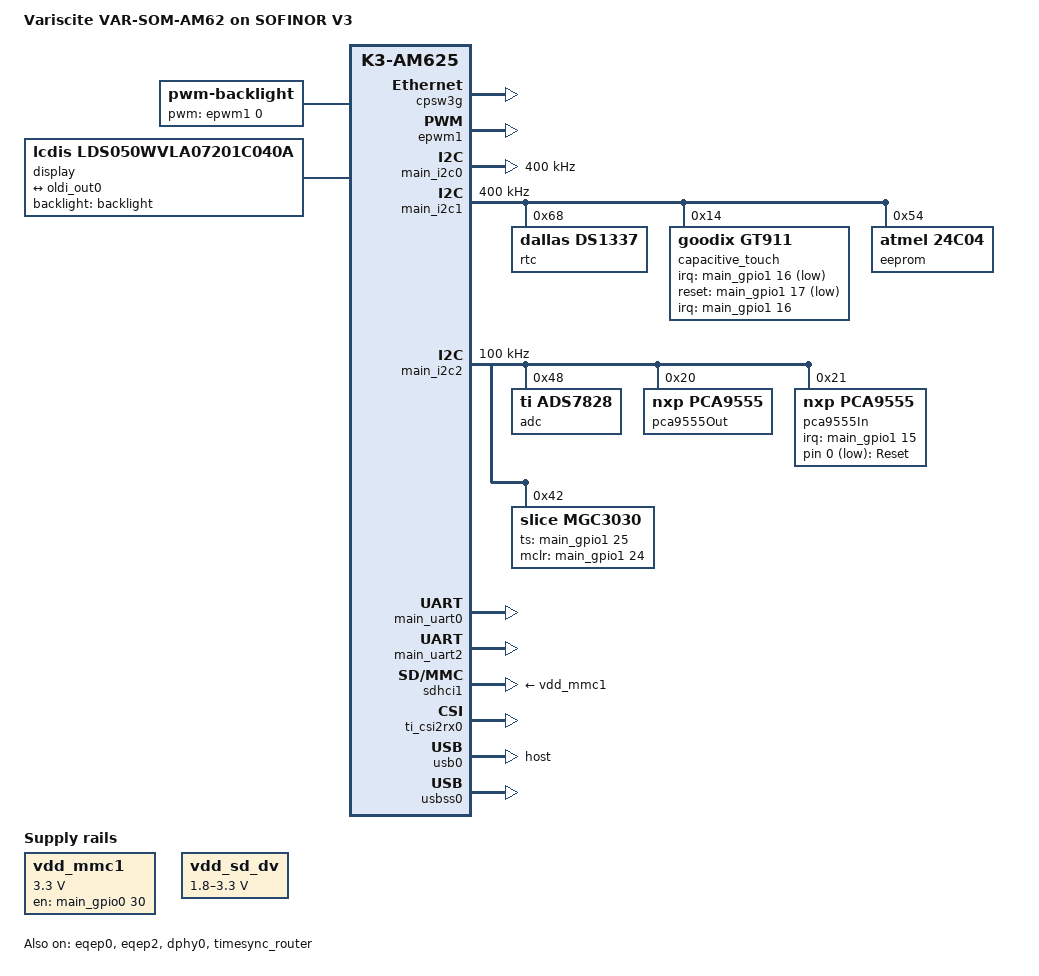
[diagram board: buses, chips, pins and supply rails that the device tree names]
// SPDX-License-Identifier: GPL-2.0
/*
 * VAR-SOM-AM62
 *
 * Copyright (C) 2021-2022 Texas Instruments Incorporated - https://www.ti.com/
 * Copyright (C) 2024 Variscite Ltd. - https://www.variscite.com/
 */

/dts-v1/;

#include "k3-am625-var-som.dtsi"

/ {
	model = "Variscite VAR-SOM-AM62 on SOFINOR V3";

	aliases {
		ethernet0 = &cpsw_port1;
		ethernet1 = &cpsw_port2;
		mmc0 = &sdhci0;
		mmc1 = &sdhci1;
		mmc2 = &sdhci2;
		serial0 = &main_uart0;
		serial2 = &main_uart2;
		serial5 = &main_uart5;
		serial6 = &main_uart6;
		spi5 = &main_spi2;
		usb0 = &usb0;
		usb1 = &usb1;
	};

	backlight: backlight {
		compatible = "pwm-backlight";
		pwms = <&epwm1 0 1000000 PWM_POLARITY_NORMAL>;
		status = "okay";
		brightness-levels = < 0  1  2  3  4  5  6  7  8  9
				      10 11 12 13 14 15 16 17 18 19
				      20 21 22 23 24 25 26 27 28 29
				      30 31 32 33 34 35 36 37 38 39
				      40 41 42 43 44 45 46 47 48 49
				      50 51 52 53 54 55 56 57 58 59
				      60 61 62 63 64 65 66 67 68 69
				      70 71 72 73 74 75 76 77 78 79
				      80 81 82 83 84 85 86 87 88 89
				      90 91 92 93 94 95 96 97 98 99
				      100>;
		default-brightness-level = <100>;
	};

	chosen {
		stdout-path = "serial0:115200n8";
		bootargs = "console=ttyS0,115200n8 earlycon=ns16550a,mmio32,0x02800000";
	};

	display {
		compatible = "lcdis,lds050wvla07201c040a";
		backlight = <&backlight>;
		status = "okay";

		port@0 {
			lcd_in0: endpoint {
				remote-endpoint = <&oldi_out0>;
			};
		};
	};

	gpio-keys {
		compatible = "gpio-keys";
		status = "okay";

		reset {
			label = "Reset";
			linux,code = <KEY_POWER>;//cursor up
			gpios = <&pca9555In 0 GPIO_ACTIVE_LOW>;
			wakeup-source;
			debounce-interval = <10>;  // Optional debounce (in ms)
		};
	};

	vdd_mmc1: regulator-3 {
		compatible = "regulator-fixed";
		regulator-name = "SD_power_en";
		pinctrl-names = "default";
		pinctrl-0 = <&vdd_mmc1_pins_default>;
		regulator-min-microvolt = <3300000>;
		regulator-max-microvolt = <3300000>;
		regulator-boot-on;
		enable-active-high;
		gpio = <&main_gpio0 30 GPIO_ACTIVE_HIGH>;
		status="okay";
	};

	vdd_sd_dv: regulator-4 {
		compatible = "regulator-gpio";
		regulator-name = "SD_voltage_sel";
		pinctrl-names = "default";
		pinctrl-0 = <&vdd_sd_dv_pins_default>;
		regulator-min-microvolt = <1800000>;
		regulator-max-microvolt = <3300000>;
		regulator-boot-on;
		gpios = <&main_gpio0 56 GPIO_ACTIVE_HIGH>;
		states = <1800000 0x0>,
				 <3300000 0x1>;
		status="okay";
	};
};

//pin 45 eqep0_A 23200000.counter
&eqep0 {
	pinctrl-names = "default";
	pinctrl-0 = <&eqep0_pins_default>;
	status = "okay";
};

// //pin 88 eqep2_A 23220000.counter
&eqep2{
	pinctrl-names = "default";
	pinctrl-0 = <&eqep2_pins_default>;
	status = "okay";
};

&cpsw3g {
	status = "okay";
	pinctrl-names = "default";
	pinctrl-0 = <&main_rgmii1_pins_default>;

	cpts@3d000 {
		/* MAP HW3_TS_PUSH to GENF1 */
		ti,pps = <2 1>;
	};
};

&cpsw_port2 {
	status = "disabled";
};

&dphy0 {
	status = "okay";
};

&dss {
	pinctrl-names = "default";
	pinctrl-0 = <&main_oldi0_pins_default>;
};

&dss_ports {
	#address-cells = <1>;
	#size-cells = <0>;

	/* VP1: LVDS Output (OLDI TX 0) */
	port@0 {
		reg = <0>;
		oldi_out0: endpoint {
			remote-endpoint = <&lcd_in0>;
		};
	};
};

&epwm1 {
	status = "okay";
	pinctrl-names = "default";
	pinctrl-0 = <&main_epwm1_pins_default>;
};

&mailbox0_cluster0 {
	mbox_m4_0: mbox-m4-0 {
		ti,mbox-rx = <0 0 0>;
		ti,mbox-tx = <1 0 0>;
	};

	mbox_r5_0: mbox-r5-0 {
		ti,mbox-rx = <2 0 0>;
		ti,mbox-tx = <3 0 0>;
	};
};

// I2C 0 should be commented to eqep2 works
&main_i2c0{
	status = "okay";
	pinctrl-names = "default";
	pinctrl-0 = <&main_i2c0_pins_default>;
	clock-frequency = <400000>;
};

&main_i2c1 {
	pinctrl-names = "default";
	pinctrl-0 = <&main_i2c1_pins_default>;
	clock-frequency = <400000>;
	status = "okay";

	/* DS1337 RTC module */
	rtc@68 {
		compatible = "dallas,ds1337";
		reg = <0x68>;
		status = "okay";
	};

	/* Capacitive touch controller SOFINOR*/
    capacitive_touch: gt911@14 {
		compatible = "goodix,gt911";
		reg = <0x14>;
		interrupt-parent = <&main_gpio1>;
		interrupts = <16 IRQ_TYPE_EDGE_FALLING>;

		pinctrl-names = "default";
		pinctrl-0 = <&touchrst_pins_default &touch_irq_pins_default>;

		irq-gpios = <&main_gpio1 16 GPIO_ACTIVE_LOW>;
		reset-gpios = <&main_gpio1 17 GPIO_ACTIVE_LOW>;

		touchscreen-size-x = <800>;
		touchscreen-size-y = <480>;

		wakeup-source;
		status = "okay";
	};

	eeprom: br24g04@54 {
		compatible = "atmel,24c04";
		reg = <0x54>;
		pagesize = <16>;
		status = "okay";
	};
};

&wm8904 {
	status = "disabled";
};

&mcasp1 {
	status = "disabled";
};

// I2C#B sur dev kit
&main_i2c2 {
	clock-frequency = <100000>; //change it to 100kHz to work correctly with p82b715dr
	// ti,ads7828
	adc: ads7828@48 {
		compatible = "ti,ads7828";
		reg = <0x48>;

		ti,ext_vref;      /* Optional: Use external reference if set */
		ti,vref_mv = <2500>;

		status = "okay";
	};

	/* GPIO expander */
	pca9555Out: pca9555Out@20 {
		compatible = "nxp,pca9555";
		reg = <0x20>;
		gpio-controller;
		pinctrl-names = "default";
		#gpio-cells = <2>;
		status = "okay";

		gpio-line-names = "CTRL_OUT-1", "CTRL_OUT-2", "CTRL_OUT-3", "CTRL_OUT-4", "CTRL_OUT-5", "CTRL_OUT-6", "CTRL_OUT-7", "CTRL_OUT-8", "CTRL_OUT-9", "CTRL_OUT-10", "CTRL_OUT-11", "CTRL_OUT-12", "CTRL_OUT-13", "CTRL_OUT-14", "DIR-VERIN", "DIR-MOTEUR";

		ctrl_out_1 {
			output-low;
			line-name = "ctrl-out-1";                 // Label for the LED
			gpios = <&pca9555Out 0 GPIO_ACTIVE_HIGH>;// GPIO0 pin 38 (active low PNP)
		};

		ctrl_out_2 {
			output-low;
			line-name = "ctrl-out-2";                 // Label for the LED
			gpios = <&pca9555Out 1 GPIO_ACTIVE_HIGH>;// GPIO0 pin 38 (active low PNP)
		};

		ctrl_out_3 {
			output-low;
			line-name = "ctrl-out-3";                 // Label for the LED
			gpios = <&pca9555Out 2 GPIO_ACTIVE_HIGH>;// GPIO0 pin 38 (active low PNP)
		};

		ctrl_out_4 {
			output-low;
			line-name = "ctrl-out-4";                 // Label for the LED
			gpios = <&pca9555Out 3 GPIO_ACTIVE_HIGH>;// GPIO0 pin 38 (active low PNP)
		};

		ctrl_out_5 {
			output-low;
			line-name = "ctrl-out-5";                 // Label for the LED
			gpios = <&pca9555Out 4 GPIO_ACTIVE_HIGH>;// GPIO0 pin 38 (active low PNP)
		};

		ctrl_out_6 {
			output-low;
			line-name = "ctrl-out-6";                 // Label for the LED
			gpios = <&pca9555Out 5 GPIO_ACTIVE_HIGH>;// GPIO0 pin 38 (active low PNP)
		};

		ctrl_out_7 {
			output-low;
			line-name = "ctrl-out-7";                 // Label for the LED
			gpios = <&pca9555Out 6 GPIO_ACTIVE_HIGH>;// GPIO0 pin 38 (active low PNP)
		};

		ctrl_out_8 {
			output-low;
			line-name = "ctrl-out-8";                 // Label for the LED
			gpios = <&pca9555Out 7 GPIO_ACTIVE_HIGH>;// GPIO0 pin 38 (active low PNP)
		};

		ctrl_out_9 {
			output-low;
			line-name = "ctrl-out-9";                 // Label for the LED
			gpios = <&pca9555Out 8 GPIO_ACTIVE_HIGH>;// GPIO0 pin 38 (active low PNP)
		};

		ctrl_out_10 {
			output-low;
			line-name = "ctrl-out-10";                 // Label for the LED
			gpios = <&pca9555Out 9 GPIO_ACTIVE_HIGH>;// GPIO0 pin 38 (active low PNP)
		};

		ctrl_out_11 {
			output-low;
			line-name = "ctrl-out-11";                 // Label for the LED
			gpios = <&pca9555Out 10 GPIO_ACTIVE_HIGH>;// GPIO0 pin 38 (active low PNP)
		};

		ctrl_out_12 {
			output-low;
			line-name = "ctrl-out-12";                 // Label for the LED
			gpios = <&pca9555Out 11 GPIO_ACTIVE_HIGH>;// GPIO0 pin 38 (active low PNP)
		};

		ctrl_out_13 {
			output-low;
			line-name = "ctrl-out-13";                 // Label for the LED
			gpios = <&pca9555Out 12 GPIO_ACTIVE_HIGH>;// GPIO0 pin 38 (active low PNP)
		};

		ctrl_out_14 {
			output-low;
			line-name = "ctrl-out-14";                 // Label for the LED
			gpios = <&pca9555Out 13 GPIO_ACTIVE_HIGH>;// GPIO0 pin 38 (active low PNP)
		};

		dir_motor_1 {
			output-low;
			line-name = "dir-motor-1";                 // Label for the LED
			gpios = <&pca9555Out 14 GPIO_ACTIVE_HIGH>;// GPIO0 pin 38 (active low PNP)
		};

		dir_motor_2 {
			output-low;
			line-name = "dir-motor-2";                 // Label for the LED
			gpios = <&pca9555Out 15 GPIO_ACTIVE_HIGH>;// GPIO0 pin 38 (active low PNP)
		};

	};
	
	pca9555In: pca9555In@21 {
		compatible = "nxp,pca9555";
		reg = <0x21>;
		gpio-controller;
		pinctrl-names = "default";
		pinctrl-0 = <&pca9555_irq_default>;
		interrupt-parent = <&main_gpio1>;
		interrupts = <15 IRQ_TYPE_EDGE_FALLING>;
		#gpio-cells = <2>;
		wakeup-source;
		status = "okay";

		gpio-line-names = "RESET", "CONN_IN-1", "CONN_IN-2", "CONN_IN-3", "CONN_IN-4", "CONN_IN-5", "CONN_IN-6", "CONN_IN-7", "CONN_IN-11", "CONN_IN-10", "CONN_IN-9", "CONN_IN-8", "BUZZER", "ON_OFF-VERIN", "ON_OFF-MOTEUR", "CONN_IN-12";

		in1 {
			line-name = "CONN_IN-1";
			gpios = <&pca9555In 1 GPIO_ACTIVE_HIGH>;
			wakeup-source;
			input;
		};

		in2 {
			line-name = "CONN_IN-2";
			gpios = <&pca9555In 2 GPIO_ACTIVE_HIGH>;
			wakeup-source;
			input;
		};

		in3 {
			line-name = "CONN_IN-3";
			gpios = <&pca9555In 3 GPIO_ACTIVE_HIGH>;
			wakeup-source;
			input;
		};

		in4 {
			line-name = "CONN_IN-4";
			gpios = <&pca9555In 4 GPIO_ACTIVE_HIGH>;
			wakeup-source;
			input;
		};

		in5 {
			line-name = "CONN_IN-5";
			gpios = <&pca9555In 5 GPIO_ACTIVE_HIGH>;
			wakeup-source;
			input;
		};

		in6 {
			line-name = "CONN_IN-6";
			gpios = <&pca9555In 6 GPIO_ACTIVE_HIGH>;
			wakeup-source;
			input;
		};

		in7 {
			line-name = "CONN_IN-7";
			gpios = <&pca9555In 7 GPIO_ACTIVE_HIGH>;
			wakeup-source;
			input;
		};

		in11 {
			line-name = "CONN_IN-11";
			gpios = <&pca9555In 8 GPIO_ACTIVE_HIGH>;
			wakeup-source;
			input;
		};

		in10 {
			line-name = "CONN_IN-10";
			gpios = <&pca9555In 9 GPIO_ACTIVE_HIGH>;
			wakeup-source;
			input;
		};

		in9 {
			line-name = "CONN_IN-9";
			gpios = <&pca9555In 10 GPIO_ACTIVE_HIGH>;
			wakeup-source;
			input;
		};

		in8 {
			line-name = "CONN_IN-8";
			gpios = <&pca9555In 11 GPIO_ACTIVE_HIGH>;
			wakeup-source;
			input;
		};

		buzzer {
			gpios = <&pca9555In 12 GPIO_ACTIVE_HIGH>;
			output-low;
			line-name = "buzzer";
		};

		onoffmotor1 {
			gpios = <&pca9555In 13 GPIO_ACTIVE_HIGH>;
			output-low;
			line-name = "on-off-motor-1";                 // Label for the LED
		};

		onoffmotor2 {
			output-low;
			gpios = <&pca9555In 14 GPIO_ACTIVE_HIGH>;
			line-name = "on-off-motor-2";                 // Label for the LED
		};

		in12 {
			line-name = "CONN_IN-12";
			gpios = <&pca9555In 15 GPIO_ACTIVE_HIGH>;
			wakeup-source;
			input;
		};
	};

	mgc3030@42 {
		compatible = "slice,mgc3030";
		reg = <0x42>;
		status = "okay";

		pinctrl-names = "default";
		pinctrl-0 = <&mgc3030_pins_default>;

		ts-gpio = <&main_gpio1 25 0>; //GPIO_ACTIVE_HIGH is 0
		mclr-gpio = <&main_gpio1 24 0>;
	};
};

&main_spi0_pins_default{
	pinctrl-single,pins = <>;
};

&main_mcasp1_pins_default{
	pinctrl-single,pins = <>;
};


&main_pmx0 {
	pinctrl-names = "default";
	pinctrl-0 = <&future_irq_default &mgc3030_detect_default>;

    // TS and MCLR for MGC3030
	mgc3030_pins_default: mgc3030-default-pins {
		pinctrl-single,pins = <
		AM62X_IOPAD(0x01d8, PIN_OUTPUT, 7) /* (C15) MCAN0_TX.GPIO1_24 */ /*MGC3030 MCLR*/
		AM62X_IOPAD(0x01dc, PIN_INPUT, 7) /* (E15) MCAN0_RX.GPIO1_25 */ /*MGC3030 TS*/
		>;
	};

	// when connected pulled up by the pcb
	mgc3030_detect_default: mgc3030-detect-default-pins {
		pinctrl-single,pins = <
		AM62X_IOPAD(0x0190, PIN_INPUT_PULLDOWN, 7) /* (AE22) RGMII2_RD3.GPIO1_6 */
		>;
	};

	//touch reset pin
	touchrst_pins_default: touchrst-default-pins {
		pinctrl-single,pins = <AM62X_IOPAD(0x01bc, PIN_OUTPUT, 7) /* (A14) SPI0_CLK.GPIO1_17 */>;
	};

	//touch interrupt pin
	touch_irq_pins_default: touch-irq-default-pins {
		pinctrl-single,pins = <AM62X_IOPAD(0x01b8, PIN_INPUT, 7) /* (C13) SPI0_CS1.GPIO1_16 */>;
	};

	//Interrupt for Input GPIO Expander
	pca9555_irq_default: pca9555_irq_default {
		pinctrl-single,pins = <AM62X_IOPAD(0x01b4, PIN_INPUT, 7) /* (A13) SPI0_CS0.GPIO1_15 */>;
	};

	// //Interrupt for Future Input GPIO Expander
	future_irq_default: future_irq_default {
		pinctrl-single,pins = <
		AM62X_IOPAD(0x01c4, PIN_INPUT, 7) /* (B14) SPI0_D1.GPIO1_19 */
		>;
	};

	//pin 45
	eqep0_pins_default: eqep0-default-pins {
		pinctrl-single,pins = <
			AM62X_IOPAD(0x0194, PIN_INPUT, 8) /* (B19) MCASP0_AXR3.EQEP0_A */
		>;
	};

	// // pin 71
	eqep2_pins_default: eqep2-default-pins {
		pinctrl-single,pins = <
			AM62X_IOPAD(0x018c, PIN_INPUT, 8) /* (AC21) RGMII2_RD2.EQEP2_A */
		>;
	};

	main_epwm1_pins_default: main-epwm1-pins-default {
		pinctrl-single,pins = <
			AM62X_IOPAD(0x019c, PIN_OUTPUT, 6) /* (B18) MCASP0_AXR1.EHRPWM1_A */
		>;
	};

	main_i2c0_pins_default: main-i2c0-pins-default {
		pinctrl-single,pins = <
			AM62X_IOPAD(0x1e0, PIN_INPUT_PULLUP, 0) /* (B16) I2C0_SCL */
			AM62X_IOPAD(0x1e4, PIN_INPUT_PULLUP, 0) /* (A16) I2C0_SDA */
		>;
	};

	main_i2c1_pins_default: main-i2c1-pins-default {
		pinctrl-single,pins = <
			AM62X_IOPAD(0x1e8, PIN_INPUT_PULLUP, 0) /* (B17) I2C1_SCL */
			AM62X_IOPAD(0x1ec, PIN_INPUT_PULLUP, 0) /* (A17) I2C1_SDA */
		>;
	};

	main_mmc1_pins_default: main-mmc1-pins-default {
		pinctrl-single,pins = <
			AM62X_IOPAD(0x23c, PIN_INPUT, 0) /* (A21) MMC1_CMD */
			AM62X_IOPAD(0x234, PIN_INPUT, 0) /* (B22) MMC1_CLK */
			AM62X_IOPAD(0x230, PIN_INPUT, 0) /* (A22) MMC1_DAT0 */
			AM62X_IOPAD(0x22c, PIN_INPUT, 0) /* (B21) MMC1_DAT1 */
			AM62X_IOPAD(0x228, PIN_INPUT, 0) /* (C21) MMC1_DAT2 */
			AM62X_IOPAD(0x224, PIN_INPUT, 0) /* (D22) MMC1_DAT3 */
			AM62X_IOPAD(0x240, PIN_INPUT, 0) /* (D17) MMC1_SDCD */
		>;
	};

	main_oldi0_pins_default: main-oldi0-pins-default {
		pinctrl-single,pins = <
			AM62X_IOPAD(0x0260, PIN_INPUT, 0) /* (AA5) OLDI0_A0N */
			AM62X_IOPAD(0x025c, PIN_OUTPUT, 0) /* (Y6) OLDI0_A0P */
			AM62X_IOPAD(0x0268, PIN_OUTPUT, 0) /* (AD3) OLDI0_A1N */
			AM62X_IOPAD(0x0264, PIN_OUTPUT, 0) /* (AB4) OLDI0_A1P */
			AM62X_IOPAD(0x0270, PIN_OUTPUT, 0) /* (Y8) OLDI0_A2N */
			AM62X_IOPAD(0x026c, PIN_OUTPUT, 0) /* (AA8) OLDI0_A2P */
			AM62X_IOPAD(0x0278, PIN_OUTPUT, 0) /* (AB6) OLDI0_A3N */
			AM62X_IOPAD(0x0274, PIN_OUTPUT, 0) /* (AA7) OLDI0_A3P */
			AM62X_IOPAD(0x0280, PIN_OUTPUT, 0) /* (AC6) OLDI0_A4N */
			AM62X_IOPAD(0x027c, PIN_OUTPUT, 0) /* (AC5) OLDI0_A4P */
			AM62X_IOPAD(0x0288, PIN_OUTPUT, 0) /* (AE5) OLDI0_A5N */
			AM62X_IOPAD(0x0284, PIN_OUTPUT, 0) /* (AD6) OLDI0_A5P */
			AM62X_IOPAD(0x0290, PIN_OUTPUT, 0) /* (AE6) OLDI0_A6N */
			AM62X_IOPAD(0x028c, PIN_OUTPUT, 0) /* (AD7) OLDI0_A6P */
			AM62X_IOPAD(0x0298, PIN_OUTPUT, 0) /* (AD8) OLDI0_A7N */
			AM62X_IOPAD(0x0294, PIN_OUTPUT, 0) /* (AE7) OLDI0_A7P */
			AM62X_IOPAD(0x02a0, PIN_OUTPUT, 0) /* (AD4) OLDI0_CLK0N */
			AM62X_IOPAD(0x029c, PIN_OUTPUT, 0) /* (AE3) OLDI0_CLK0P */
			AM62X_IOPAD(0x02a8, PIN_OUTPUT, 0) /* (AE4) OLDI0_CLK1N */
			AM62X_IOPAD(0x02a4, PIN_OUTPUT, 0) /* (AD5) OLDI0_CLK1P */
		>;
	};

	main_uart0_pins_default: main-uart0-pins-default {
		pinctrl-single,pins = <
			AM62X_IOPAD(0x1c8, PIN_INPUT, 0) /* (D14) UART0_RXD */
			AM62X_IOPAD(0x1cc, PIN_OUTPUT, 0) /* (E14) UART0_TXD */
		>;
	};

	main_uart2_pins_default: main-uart2-pins-default {
		pinctrl-single,pins = <
			AM62X_IOPAD(0x005c, PIN_INPUT_PULLUP, 2) /* (R24) GPMC0_AD8.UART2_RXD */
			AM62X_IOPAD(0x0060, PIN_OUTPUT, 2) /* (R25) GPMC0_AD9.UART2_TXD */
		>;
	};

	// main_uart6_pins_default: main-uart6-pins-default {
	// 	pinctrl-single,pins = <
	// 		AM62X_IOPAD(0x009c, PIN_INPUT, 3) /* (V25) GPMC0_WAIT1.UART6_RXD */
	// 		AM62X_IOPAD(0x0244, PIN_OUTPUT, 1) /* (C17) MMC1_SDWP.UART6_TXD */
	// 	>;
	// };

    main_usb0_pins_default: main-usb0-pins-default {
		pinctrl-single,pins = <AM62X_IOPAD(0x0254, PIN_OUTPUT, 0) /* (C20) USB0_DRVVBUS */>;
	};

	vdd_mmc1_pins_default: vdd-mmc1-pins-default {
		pinctrl-single,pins = <
			AM62X_IOPAD(0x0078, PIN_OUTPUT, 7) /* (U24) GPMC0_AD15.GPIO0_30 */
		>;
	};

	vdd_sd_dv_pins_default: vdd-sd-dv-pins-default {
		pinctrl-single,pins = <
			AM62X_IOPAD(0x00e4, PIN_OUTPUT, 7) /* (AA23) VOUT0_DATA11.GPIO0_56 */
		>;
	};
};

&main_spi0 {
	status = "disabled";
};

&main_spi2 {
	status = "disabled";
};

&main_uart0 {
	status = "okay";
	pinctrl-names = "default";
	pinctrl-0 = <&main_uart0_pins_default>;
};

&main_uart1 {
	/* Main UART1 is used by TIFS firmware */
	status = "reserved";
};

&main_uart2 {
	pinctrl-names = "default";
	pinctrl-0 = <&main_uart2_pins_default>;
	status = "okay";
};

&main_uart6 {
	// pinctrl-names = "default";
	// pinctrl-0 = <&main_uart6_pins_default>;
	status = "disabled";
};

&mcu_gpio0 {
	status = "reserved";
};

&mcu_gpio_intr {
	status = "reserved";
};

&mcu_m4fss {
	mboxes = <&mailbox0_cluster0 &mbox_m4_0>;
	memory-region = <&mcu_m4fss_dma_memory_region>,
			<&mcu_m4fss_memory_region>;
};

&mcu_rti0 {
	/* MCU RTI0 is used by M4F firmware */
	status = "reserved";
};

&sdhci1 {
	/* SD Card */
	vmmc-supply = <&vdd_mmc1>;
	vqmmc-supply = <&vdd_sd_dv>;
	pinctrl-names = "default";
	pinctrl-0 = <&main_mmc1_pins_default>;
	disable-wp;
	status="okay";
};

&ti_csi2rx0 {
	status = "okay";
};

#define K3_TS_OFFSET(pa, val)	(0x4+(pa)*4) (0x10000 | val)

&timesync_router {
	status = "okay";
	pinctrl-names = "default";
	pinctrl-0 = <&cpsw_cpts>;

	/* Use Time Sync Router to map GENF1 input to HW3_TS_PUSH output */
	cpsw_cpts: cpsw-cpts {
		pinctrl-single,pins = <
			/* pps [cpsw cpts genf1] in17 -> out12 [cpsw cpts hw3_push] */
			K3_TS_OFFSET(12, 17)
			>;
	};
};

&usb0 {
	dr_mode = "host";
	pinctrl-names = "default";
	pinctrl-0 = <&main_usb0_pins_default>;
	status = "okay";
};

&usb1 {
	status = "disabled";
};

&usbss0 {
	status = "okay";
};

&usbss1 {
	status = "disabled";
};

&wkup_r5fss0_core0 {
	mboxes = <&mailbox0_cluster0 &mbox_r5_0>;
	memory-region = <&wkup_r5fss0_core0_dma_memory_region>,
			<&wkup_r5fss0_core0_memory_region>;
};

&wkup_rtc0 {
	status = "disabled";
};

&wkup_rti0 {
	/* WKUP RTI0 is used by DM firmware */
	status = "reserved";
};

&wkup_uart0 {
	/* WKUP UART0 is used by DM firmware */
	status = "reserved";
};
